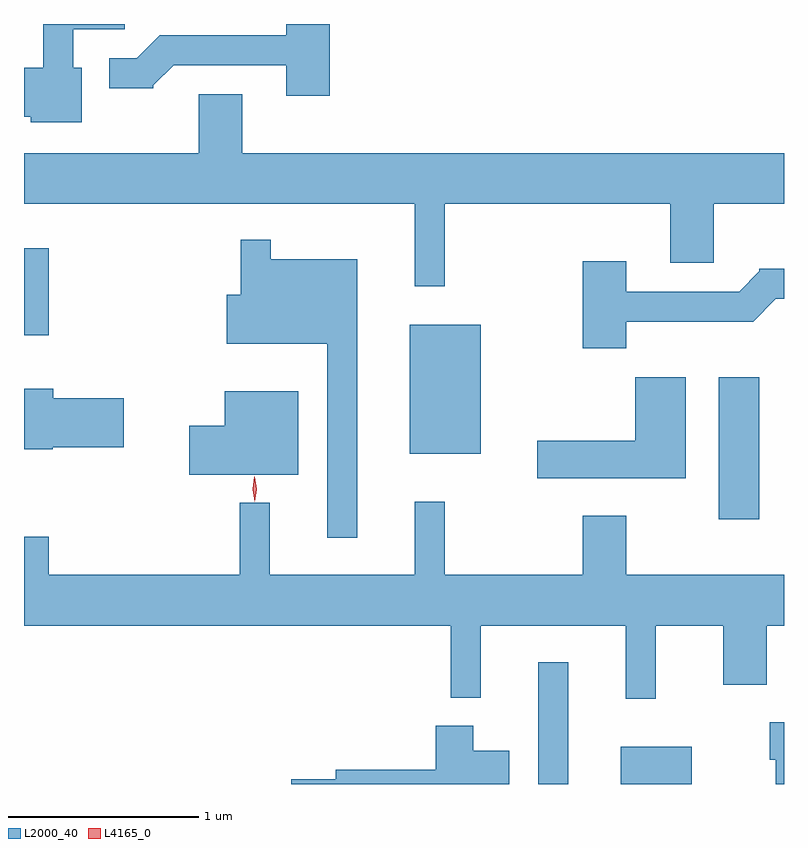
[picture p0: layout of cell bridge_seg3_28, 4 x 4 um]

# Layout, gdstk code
import gdstk
lib = gdstk.Library(unit=1e-6, precision=1e-09)
def R(c, l, rs):  # rectangles x0, y0, x1, y1
    for r in rs: c.add(gdstk.rectangle(r[:2], r[2:], *l))
def P(c, l, *ps):  # polygons
    for p in ps: c.add(gdstk.Polygon(p, *l))
L2000_40 = (2000, 40)
L4165_0 = (4165, 0)

bridge_seg3_28 = lib.new_cell('bridge_seg3_28')
R(bridge_seg3_28, L2000_40, [(1269.586,1182.903,1269.744,1183.543), (1270.021,1182.903,1270.394,1183.099), (1270.536,1184.296,1270.749,1185.044), (1268.911,1184.641,1269.284,1185.319), (1266.88,1185.266,1267.009,1185.724)])
P(bridge_seg3_28, L2000_40, [(1267.184,1186.674),(1267.139,1186.674),(1267.139,1186.876),(1267.409,1186.876),(1267.409,1186.903),(1266.981,1186.903),(1266.981,1186.674),(1266.88,1186.674),(1266.88,1186.416),(1266.916,1186.416),(1266.916,1186.386),(1267.184,1186.386)],
  [(1268.489,1186.903),(1268.261,1186.903),(1268.261,1186.844),(1267.594,1186.844),(1267.474,1186.724),(1267.328,1186.724),(1267.328,1186.566),(1267.56,1186.566),(1267.56,1186.58),(1267.667,1186.686),(1268.261,1186.686),(1268.261,1186.526),(1268.489,1186.526)],
  [(1269.094,1185.956),(1270.281,1185.956),(1270.281,1185.646),(1270.509,1185.646),(1270.509,1185.956),(1270.88,1185.956),(1270.88,1186.224),(1268.029,1186.224),(1268.029,1186.534),(1267.801,1186.534),(1267.801,1186.224),(1266.88,1186.224),(1266.88,1185.956),(1268.936,1185.956),(1268.936,1185.523),(1269.094,1185.523)],
  [(1268.634,1185.664),(1268.179,1185.664),(1268.179,1185.768),(1268.021,1185.768),(1268.021,1185.479),(1267.946,1185.479),(1267.946,1185.221),(1268.476,1185.221),(1268.476,1184.198),(1268.634,1184.198)],
  [(1270.049,1185.336),(1270.717,1185.336),(1270.837,1185.456),(1270.88,1185.456),(1270.88,1185.614),(1270.75,1185.614),(1270.75,1185.601),(1270.644,1185.494),(1270.049,1185.494),(1270.049,1185.654),(1269.821,1185.654),(1269.821,1185.196),(1270.049,1185.196)],
  [(1270.364,1185.044),(1270.096,1185.044),(1270.096,1184.709),(1269.581,1184.709),(1269.581,1184.511),(1270.364,1184.511)],
  [(1267.03,1184.676),(1267.404,1184.676),(1267.404,1184.934),(1267.034,1184.934),(1267.034,1184.984),(1266.88,1184.984),(1266.88,1184.666),(1267.03,1184.666)],
  [(1268.324,1184.969),(1267.936,1184.969),(1267.936,1184.789),(1267.751,1184.789),(1267.751,1184.531),(1268.324,1184.531)],
  [(1269.094,1184.388),(1268.936,1184.388),(1268.936,1184.004),(1268.174,1184.004),(1268.174,1184.383),(1268.016,1184.383),(1268.016,1184.004),(1267.009,1184.004),(1267.009,1184.204),(1266.88,1184.204),(1266.88,1183.736),(1269.126,1183.736),(1269.126,1183.358),(1269.284,1183.358),(1269.284,1183.736),(1270.046,1183.736),(1270.046,1183.353),(1270.204,1183.353),(1270.204,1183.736),(1270.561,1183.736),(1270.561,1183.426),(1270.789,1183.426),(1270.789,1183.736),(1270.88,1183.736),(1270.88,1184.004),(1270.049,1184.004),(1270.049,1184.314),(1269.821,1184.314),(1269.821,1184.004),(1269.094,1184.004)],
  [(1270.88,1183.229),(1270.806,1183.229),(1270.806,1183.031),(1270.836,1183.031),(1270.836,1182.903),(1270.88,1182.903)],
  [(1269.434,1183.079),(1269.244,1183.079),(1269.244,1183.209),(1269.046,1183.209),(1269.046,1182.979),(1268.521,1182.979),(1268.521,1182.929),(1268.286,1182.929),(1268.286,1182.903),(1269.434,1182.903)])
P(bridge_seg3_28, L4165_0, [(1268.095,1184.388),(1268.094,1184.389),(1268.084,1184.454),(1268.093,1184.519),(1268.094,1184.52),(1268.094,1184.519),(1268.104,1184.454),(1268.095,1184.389)])

lib.write_gds('bridge_seg3_28.gds')
